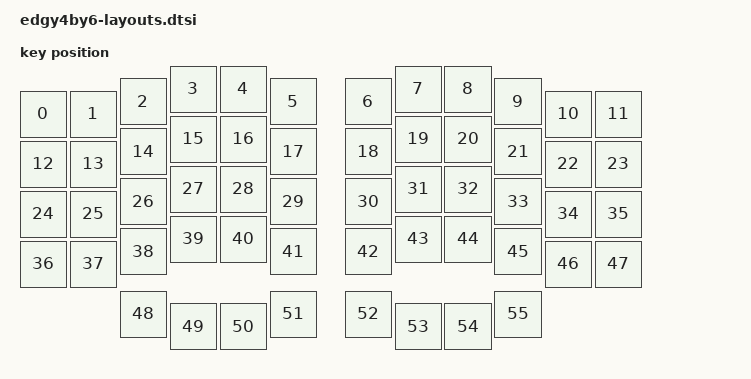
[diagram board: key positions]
// See https://zmk.dev/docs/development/hardware-integration/physical-layouts
// for how to configure this.

#include <physical_layouts.dtsi>

/ {
    default_layout: default_layout {
        compatible = "zmk,physical-layout";
        display-name = "Default Layout";
        transform = <&default_transform>;
        kscan = <&kscan>;

        // Column stagger: outer pinky cols +50, ring +25, middle/index 0
        // Left cols 0-5 at x=0..500, right cols 6-11 at x=650..1150
        keys  //                     w   h    x    y     rot    rx    ry
            // Row 0
            = <&key_physical_attrs 100 100    0   50       0     0     0>  // 0  ESC
            , <&key_physical_attrs 100 100  100   50       0     0     0>  // 1  1
            , <&key_physical_attrs 100 100  200   25       0     0     0>  // 2  2
            , <&key_physical_attrs 100 100  300    0       0     0     0>  // 3  3
            , <&key_physical_attrs 100 100  400    0       0     0     0>  // 4  4
            , <&key_physical_attrs 100 100  500   25       0     0     0>  // 5  5
            , <&key_physical_attrs 100 100  650   25       0     0     0>  // 6  6
            , <&key_physical_attrs 100 100  750    0       0     0     0>  // 7  7
            , <&key_physical_attrs 100 100  850    0       0     0     0>  // 8  8
            , <&key_physical_attrs 100 100  950   25       0     0     0>  // 9  9
            , <&key_physical_attrs 100 100 1050   50       0     0     0>  // 10 0
            , <&key_physical_attrs 100 100 1150   50       0     0     0>  // 11 DEL
            // Row 1
            , <&key_physical_attrs 100 100    0  150       0     0     0>  // 12 TAB
            , <&key_physical_attrs 100 100  100  150       0     0     0>  // 13 Q
            , <&key_physical_attrs 100 100  200  125       0     0     0>  // 14 W
            , <&key_physical_attrs 100 100  300  100       0     0     0>  // 15 E
            , <&key_physical_attrs 100 100  400  100       0     0     0>  // 16 R
            , <&key_physical_attrs 100 100  500  125       0     0     0>  // 17 T
            , <&key_physical_attrs 100 100  650  125       0     0     0>  // 18 Y
            , <&key_physical_attrs 100 100  750  100       0     0     0>  // 19 U
            , <&key_physical_attrs 100 100  850  100       0     0     0>  // 20 I
            , <&key_physical_attrs 100 100  950  125       0     0     0>  // 21 O
            , <&key_physical_attrs 100 100 1050  150       0     0     0>  // 22 P
            , <&key_physical_attrs 100 100 1150  150       0     0     0>  // 23 BSPC
            // Row 2
            , <&key_physical_attrs 100 100    0  250       0     0     0>  // 24 LSHFT
            , <&key_physical_attrs 100 100  100  250       0     0     0>  // 25 A
            , <&key_physical_attrs 100 100  200  225       0     0     0>  // 26 S
            , <&key_physical_attrs 100 100  300  200       0     0     0>  // 27 D
            , <&key_physical_attrs 100 100  400  200       0     0     0>  // 28 F
            , <&key_physical_attrs 100 100  500  225       0     0     0>  // 29 G
            , <&key_physical_attrs 100 100  650  225       0     0     0>  // 30 H
            , <&key_physical_attrs 100 100  750  200       0     0     0>  // 31 J
            , <&key_physical_attrs 100 100  850  200       0     0     0>  // 32 K
            , <&key_physical_attrs 100 100  950  225       0     0     0>  // 33 L
            , <&key_physical_attrs 100 100 1050  250       0     0     0>  // 34 ;
            , <&key_physical_attrs 100 100 1150  250       0     0     0>  // 35 '
            // Row 3
            , <&key_physical_attrs 100 100    0  350       0     0     0>  // 36 LCTRL
            , <&key_physical_attrs 100 100  100  350       0     0     0>  // 37 Z
            , <&key_physical_attrs 100 100  200  325       0     0     0>  // 38 X
            , <&key_physical_attrs 100 100  300  300       0     0     0>  // 39 C
            , <&key_physical_attrs 100 100  400  300       0     0     0>  // 40 V
            , <&key_physical_attrs 100 100  500  325       0     0     0>  // 41 B
            , <&key_physical_attrs 100 100  650  325       0     0     0>  // 42 N
            , <&key_physical_attrs 100 100  750  300       0     0     0>  // 43 M
            , <&key_physical_attrs 100 100  850  300       0     0     0>  // 44 ,
            , <&key_physical_attrs 100 100  950  325       0     0     0>  // 45 .
            , <&key_physical_attrs 100 100 1050  350       0     0     0>  // 46 /
            , <&key_physical_attrs 100 100 1150  350       0     0     0>  // 47 RCTRL
            // Thumb cluster (4 left: RC(4,2-5), 4 right: RC(4,6-9))
            , <&key_physical_attrs 100 100  200  450       0     0     0>  // 48 LWIN
            , <&key_physical_attrs 100 100  300  475       0     0     0>  // 49 LALT
            , <&key_physical_attrs 100 100  400  475       0     0     0>  // 50 SPC
            , <&key_physical_attrs 100 100  500  450       0     0     0>  // 51 lt1/A
            , <&key_physical_attrs 100 100  650  450       0     0     0>  // 52 (none)
            , <&key_physical_attrs 100 100  750  475       0     0     0>  // 53 RET
            , <&key_physical_attrs 100 100  850  475       0     0     0>  // 54 [
            , <&key_physical_attrs 100 100  950  450       0     0     0>  // 55 ]
            ;
    };
};
